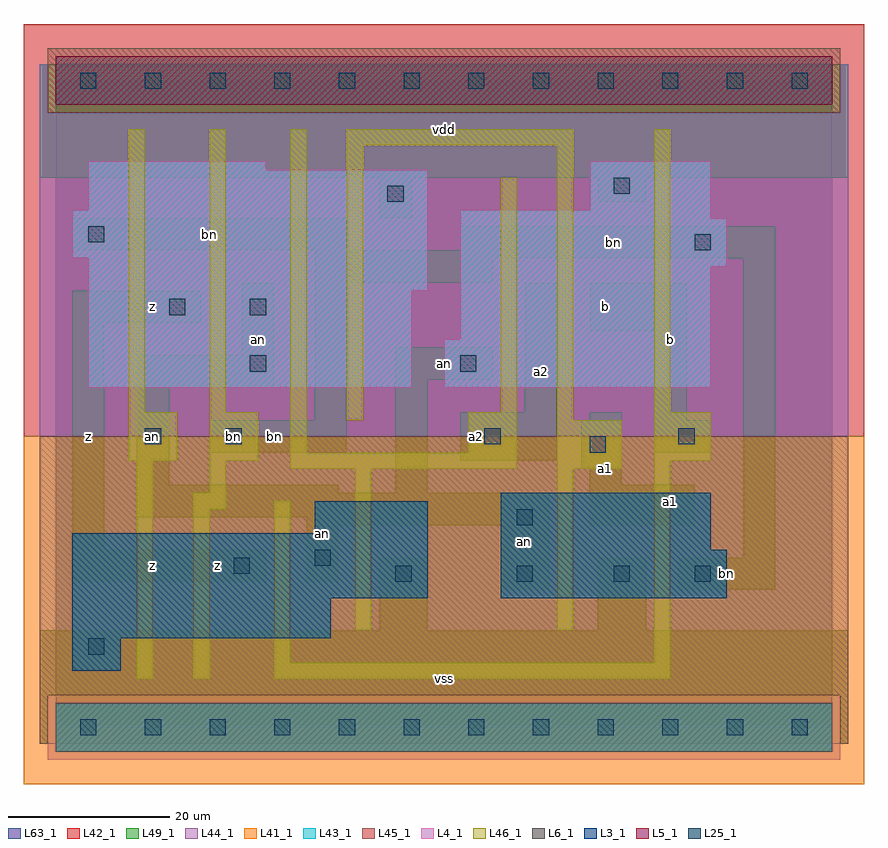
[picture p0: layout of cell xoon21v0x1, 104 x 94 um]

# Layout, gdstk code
import gdstk
lib = gdstk.Library(unit=1e-6, precision=1e-09)
def R(c, l, rs):  # rectangles x0, y0, x1, y1
    for r in rs: c.add(gdstk.rectangle(r[:2], r[2:], *l))
def A(c, l, x, y, w, h, nx, ny, dx, dy):  # array of equal rectangles
    R(c, l, [(x+i*dx, y+j*dy, x+i*dx+w, y+j*dy+h) for i in range(nx) for j in range(ny)])
L3_1 = (3, 1)
L4_1 = (4, 1)
L5_1 = (5, 1)
L6_1 = (6, 1)
L25_1 = (25, 1)
L41_1 = (41, 1)
L42_1 = (42, 1)
L43_1 = (43, 1)
L44_1 = (44, 1)
L45_1 = (45, 1)
L46_1 = (46, 1)
L49_1 = (49, 1)
L63_1 = (63, 1)

xoon21v0x1 = lib.new_cell('xoon21v0x1')
R(xoon21v0x1, L3_1, [(2,7,8,11), (2,11,34,16), (2,16,46,24), (55,16,83,22), (55,22,81,29), (32,24,46,28)])
R(xoon21v0x1, L4_1, [(4,42,44,54), (48,42,81,48), (50,48,81,57), (4,54,46,58), (50,57,83,63), (2,58,46,64), (50,63,81,64), (4,64,46,69), (66,64,81,70), (4,69,26,70)])
R(xoon21v0x1, L5_1, [(0,77,96,83)])
R(xoon21v0x1, L6_1, [(0,-3,96,3), (0,-3,96,3)])
A(xoon21v0x1, L25_1, 3, -1, 2, 2, 12, 2, 8, 80)
R(xoon21v0x1, L25_1, [(4,9,6,11), (42,18,44,20), (57,18,59,20), (69,18,71,20), (79,18,81,20), (22,19,24,21), (32,20,34,22), (57,25,59,27), (66,34,68,36), (11,35,13,37), (21,35,23,37), (53,35,55,37), (77,35,79,37), (24,44,26,46), (50,44,52,46), (14,51,16,53), (24,51,26,53), (79,59,81,61), (4,60,6,62), (41,65,43,67), (69,66,71,68)])
R(xoon21v0x1, L41_1, [(-4,-7,100,36)])
R(xoon21v0x1, L42_1, [(-4,36,100,87)])
R(xoon21v0x1, L43_1, [(0,-3,96,3), (2,7,8,11), (2,11,34,16), (2,16,46,24), (55,16,83,22), (55,22,81,29), (32,24,46,28), (4,42,44,54), (48,42,81,48), (50,48,81,57), (4,54,46,58), (50,57,83,63), (2,58,46,64), (50,63,81,64), (4,64,46,69), (66,64,81,70), (4,69,26,70), (0,77,96,83)])
R(xoon21v0x1, L44_1, [(-1,-4,97,4), (-2,36,98,76), (-2,76,-1,82), (97,76,98,82)])
R(xoon21v0x1, L45_1, [(-2,-2,-1,4), (97,-2,98,4), (-2,4,98,36), (-1,76,97,84)])
R(xoon21v0x1, L46_1, [(10,6,12,33), (17,6,19,27), (27,6,76,8), (27,8,29,28), (74,8,76,33), (37,12,39,32), (62,12,64,32), (17,27,21,29), (19,29,21,33), (29,32,57,34), (62,32,70,38), (9,33,15,39), (19,33,25,39), (74,33,81,39), (29,34,31,74), (51,34,57,39), (36,38,38,72), (62,38,64,72), (9,39,11,74), (19,39,21,74), (55,39,57,68), (74,39,76,74), (36,72,64,74)])
R(xoon21v0x1, L49_1, [(-2,-2,98,12), (40,12,46,21), (67,12,73,21), (55,17,61,25), (77,17,89,21), (2,18,26,22), (31,18,35,25), (85,21,89,58), (2,22,6,50), (31,25,61,26), (66,25,79,30), (10,26,61,29), (10,29,35,30), (42,29,46,43), (10,30,14,42), (66,30,70,32), (65,32,70,38), (50,33,62,39), (19,34,36,38), (74,34,81,38), (32,38,36,55), (66,38,70,39), (74,38,78,49), (58,39,62,55), (10,42,27,46), (42,43,54,47), (23,46,27,55), (66,49,78,55), (2,50,18,54), (32,55,54,58), (32,58,89,59), (2,59,36,63), (50,59,89,62), (40,63,44,68), (67,65,73,68), (-2,68,98,82)])
R(xoon21v0x1, L63_1, [(0,0,96,80)])
xoon21v0x1.add(gdstk.Label('bn', (22,36), layer=49, texttype=1))
xoon21v0x1.add(gdstk.Label('an', (12,36), layer=49, texttype=1))
xoon21v0x1.add(gdstk.Label('z', (12,20), layer=49, texttype=1))
xoon21v0x1.add(gdstk.Label('an', (12,36), layer=49, texttype=1))
xoon21v0x1.add(gdstk.Label('z', (4,36), layer=49, texttype=1))
xoon21v0x1.add(gdstk.Label('z', (12,52), layer=49, texttype=1))
xoon21v0x1.add(gdstk.Label('z', (20,20), layer=49, texttype=1))
xoon21v0x1.add(gdstk.Label('an', (33,24), layer=49, texttype=1))
xoon21v0x1.add(gdstk.Label('bn', (27,36), layer=49, texttype=1))
xoon21v0x1.add(gdstk.Label('an', (25,48), layer=49, texttype=1))
xoon21v0x1.add(gdstk.Label('bn', (19,61), layer=49, texttype=1))
xoon21v0x1.add(gdstk.Label('vss', (48,6), layer=49, texttype=1))
xoon21v0x1.add(gdstk.Label('an', (48,45), layer=49, texttype=1))
xoon21v0x1.add(gdstk.Label('a2', (52,36), layer=49, texttype=1))
xoon21v0x1.add(gdstk.Label('vdd', (48,74), layer=49, texttype=1))
xoon21v0x1.add(gdstk.Label('an', (58,23), layer=49, texttype=1))
xoon21v0x1.add(gdstk.Label('a1', (76,28), layer=49, texttype=1))
xoon21v0x1.add(gdstk.Label('a1', (68,32), layer=49, texttype=1))
xoon21v0x1.add(gdstk.Label('a2', (60,44), layer=49, texttype=1))
xoon21v0x1.add(gdstk.Label('b', (68,52), layer=49, texttype=1))
xoon21v0x1.add(gdstk.Label('b', (76,48), layer=49, texttype=1))
xoon21v0x1.add(gdstk.Label('bn', (83,19), layer=49, texttype=1))
xoon21v0x1.add(gdstk.Label('bn', (69,60), layer=49, texttype=1))

lib.write_gds('xoon21v0x1.gds')
